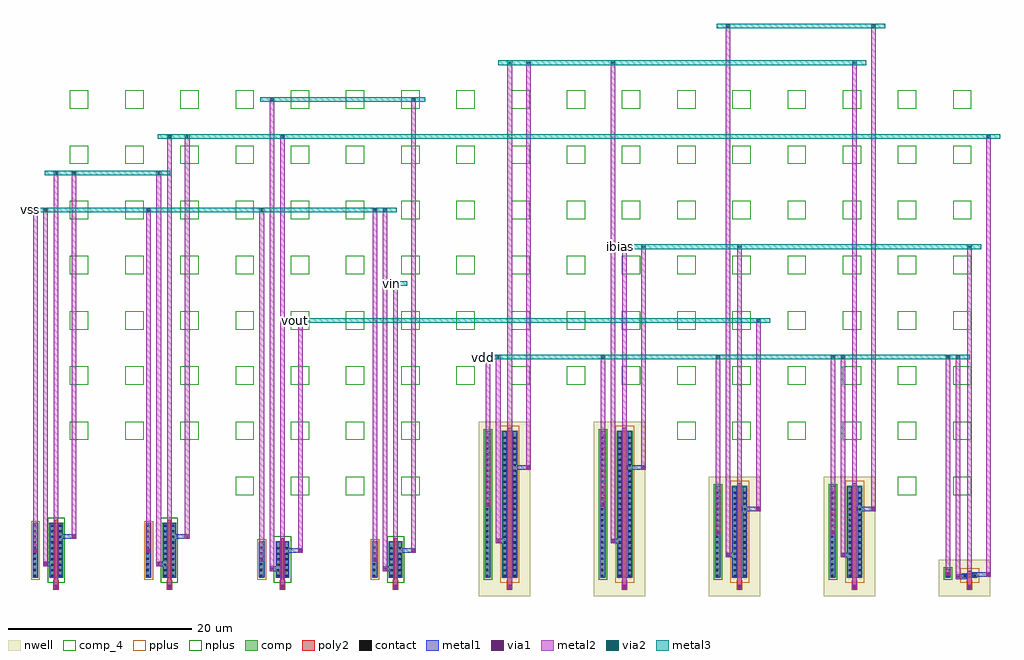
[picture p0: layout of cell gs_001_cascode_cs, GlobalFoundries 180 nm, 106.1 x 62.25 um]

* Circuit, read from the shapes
.subckt gs_001_cascode_cs ibias vdd vin vout vss
XM1 n1 n1 vss vss nfet_03v3 w=6u l=0.3u
XM2 n2 n2 n1 vss nfet_03v3 w=6u l=0.3u
XM3 vout n2 n3 vss nfet_03v3 w=4u l=0.3u
XM4 n3 vin vss vss nfet_03v3 w=4u l=0.3u
XM5 n4 n4 vdd vdd pfet_03v3 w=16u l=0.5u
XM6 ibias ibias n4 vdd pfet_03v3 w=16u l=0.5u
XM7 vout ibias n5 vdd pfet_03v3 w=10u l=0.5u
XM8 n5 n4 vdd vdd pfet_03v3 w=10u l=0.5u
XM9 n2 ibias vdd vdd pfet_03v3 w=0.5u l=0.5u
.ends

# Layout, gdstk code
import gdstk
lib = gdstk.Library(unit=1e-6, precision=1e-09)
def R(c, l, rs):  # rectangles x0, y0, x1, y1
    for r in rs: c.add(gdstk.rectangle(r[:2], r[2:], *l))
def A(c, l, x, y, w, h, nx, ny, dx, dy):  # array of equal rectangles
    R(c, l, [(x+i*dx, y+j*dy, x+i*dx+w, y+j*dy+h) for i in range(nx) for j in range(ny)])
nwell = (21, 0)
comp = (22, 0)
comp_4 = (22, 4)
poly2 = (30, 0)
pplus = (31, 0)
nplus = (32, 0)
contact = (33, 0)
metal1 = (34, 0)
via1 = (35, 0)
metal2 = (36, 0)
via2 = (38, 0)
metal3 = (42, 0)

gs_001_cascode_cs = lib.new_cell('gs_001_cascode_cs')
R(gs_001_cascode_cs, nwell, [(46.7,-2,52.3,17), (59.2,-2,64.8,17), (71.7,-2,77.3,11), (84.2,-2,89.8,11), (96.7,-2,102.3,2)])
R(gs_001_cascode_cs, comp, [(-1.8,0,-1.2,6), (0,0,1.5,6), (10.5,0,11.1,6), (12.3,0,13.8,6), (22.8,0,23.4,4), (24.6,0,26.1,4), (35.1,0,35.7,4), (36.9,0,38.4,4), (47.4,0,48,16), (49.2,0,50.9,16), (59.9,0,60.5,16), (61.7,0,63.4,16), (72.4,0,73,10), (74.2,0,75.9,10), (84.9,0,85.5,10), (86.7,0,88.4,10), (97.4,0,98,1), (99.2,0,100.9,0.5)])
A(gs_001_cascode_cs, comp_4, 20.25, 9, 2, 2, 4, 1, 6, 0)
A(gs_001_cascode_cs, comp_4, 2.25, 15, 2, 2, 7, 1, 6, 0)
A(gs_001_cascode_cs, comp_4, 68.25, 15, 2, 2, 6, 1, 6, 0)
A(gs_001_cascode_cs, comp_4, 2.25, 21, 2, 2, 17, 6, 6, 6)
R(gs_001_cascode_cs, comp_4, [(92.25,9,94.25,11), (98.25,9,100.25,11)])
A(gs_001_cascode_cs, poly2, 0.45, -1.3, 0.6, 1.05, 4, 1, 12.3, 0)
A(gs_001_cascode_cs, poly2, 49.75, -1.3, 0.6, 1.05, 5, 1, 12.5, 0)
R(gs_001_cascode_cs, poly2, [(0.6,-0.3,0.9,6.3), (12.9,-0.3,13.2,6.3), (25.2,-0.3,25.5,4.3), (37.5,-0.3,37.8,4.3), (49.8,-0.3,50.3,16.3), (62.3,-0.3,62.8,16.3), (74.8,-0.3,75.3,10.3), (87.3,-0.3,87.8,10.3), (99.8,-0.3,100.3,0.8)])
R(gs_001_cascode_cs, pplus, [(49.02,-0.55,51.08,16.55), (61.52,-0.55,63.58,16.55), (74.02,-0.55,76.08,10.55), (86.52,-0.55,88.58,10.55), (99.02,-0.55,101.08,1.05), (-1.98,-0.18,-1.02,6.18), (10.32,-0.18,11.28,6.18), (22.62,-0.18,23.58,4.18), (34.92,-0.18,35.88,4.18)])
R(gs_001_cascode_cs, nplus, [(-0.18,-0.55,1.68,6.55), (12.12,-0.55,13.98,6.55), (24.42,-0.55,26.28,4.55), (36.72,-0.55,38.58,4.55), (47.22,-0.18,48.18,16.18), (59.72,-0.18,60.68,16.18), (72.22,-0.18,73.18,10.18), (84.72,-0.18,85.68,10.18), (97.22,-0.18,98.18,1.18)])
A(gs_001_cascode_cs, contact, 0.64, -1.11, 0.22, 0.22, 4, 1, 12.3, 0)
A(gs_001_cascode_cs, contact, 49.94, -1.11, 0.22, 0.22, 5, 1, 12.5, 0)
A(gs_001_cascode_cs, contact, 0.19, 0.14, 0.22, 0.22, 1, 10, 0, 0.6)
A(gs_001_cascode_cs, contact, 1.09, 0.14, 0.22, 0.22, 1, 10, 0, 0.6)
A(gs_001_cascode_cs, contact, 12.49, 0.14, 0.22, 0.22, 1, 10, 0, 0.6)
A(gs_001_cascode_cs, contact, 13.39, 0.14, 0.22, 0.22, 1, 10, 0, 0.6)
A(gs_001_cascode_cs, contact, 24.79, 0.14, 0.22, 0.22, 1, 6, 0, 0.6)
A(gs_001_cascode_cs, contact, 25.69, 0.14, 0.22, 0.22, 1, 6, 0, 0.6)
A(gs_001_cascode_cs, contact, 37.09, 0.14, 0.22, 0.22, 1, 6, 0, 0.6)
A(gs_001_cascode_cs, contact, 37.99, 0.14, 0.22, 0.22, 1, 6, 0, 0.6)
A(gs_001_cascode_cs, contact, 49.39, 0.14, 0.22, 0.22, 1, 26, 0, 0.6)
A(gs_001_cascode_cs, contact, 50.49, 0.14, 0.22, 0.22, 1, 26, 0, 0.6)
A(gs_001_cascode_cs, contact, 61.89, 0.14, 0.22, 0.22, 1, 26, 0, 0.6)
A(gs_001_cascode_cs, contact, 62.99, 0.14, 0.22, 0.22, 1, 26, 0, 0.6)
A(gs_001_cascode_cs, contact, 74.39, 0.14, 0.22, 0.22, 1, 16, 0, 0.6)
A(gs_001_cascode_cs, contact, 75.49, 0.14, 0.22, 0.22, 1, 16, 0, 0.6)
A(gs_001_cascode_cs, contact, 86.89, 0.14, 0.22, 0.22, 1, 16, 0, 0.6)
A(gs_001_cascode_cs, contact, 87.99, 0.14, 0.22, 0.22, 1, 16, 0, 0.6)
A(gs_001_cascode_cs, contact, -1.69, 0.15, 0.22, 0.22, 5, 6, 12.3, 0.6)
A(gs_001_cascode_cs, contact, 60.01, 0.15, 0.22, 0.22, 4, 1, 12.5, 0)
A(gs_001_cascode_cs, contact, 60.01, 0.75, 0.22, 0.22, 3, 5, 12.5, 0.6)
A(gs_001_cascode_cs, contact, -1.69, 3.75, 0.22, 0.22, 1, 4, 0, 0.6)
A(gs_001_cascode_cs, contact, 10.61, 3.75, 0.22, 0.22, 1, 4, 0, 0.6)
A(gs_001_cascode_cs, contact, 47.51, 3.75, 0.22, 0.22, 4, 10, 12.5, 0.6)
A(gs_001_cascode_cs, contact, 47.51, 9.75, 0.22, 0.22, 1, 10, 0, 0.6)
A(gs_001_cascode_cs, contact, 60.01, 9.75, 0.22, 0.22, 1, 10, 0, 0.6)
R(gs_001_cascode_cs, contact, [(99.39,0.14,99.61,0.36), (100.49,0.14,100.71,0.36)])
R(gs_001_cascode_cs, metal1, [(0.5,-1.25,1,-0.75), (0.5,-1.25,1,-0.75), (12.8,-1.25,13.3,-0.75), (12.8,-1.25,13.3,-0.75), (25.1,-1.25,25.6,-0.75), (25.1,-1.25,25.6,-0.75), (37.4,-1.25,37.9,-0.75), (37.4,-1.25,37.9,-0.75), (49.8,-1.25,50.3,-0.75), (49.8,-1.25,50.3,-0.75), (62.3,-1.25,62.8,-0.75), (62.3,-1.25,62.8,-0.75), (74.8,-1.25,75.3,-0.75), (74.8,-1.25,75.3,-0.75), (87.3,-1.25,87.8,-0.75), (87.3,-1.25,87.8,-0.75), (99.8,-1.25,100.3,-0.75), (99.8,-1.25,100.3,-0.75), (98.55,-0.125,99.05,0.375), (-1.75,0.05,-1.25,5.95), (10.55,0.05,11.05,5.95), (22.85,0.05,23.35,3.95), (35.15,0.05,35.65,3.95), (47.45,0.05,47.95,15.95), (59.95,0.05,60.45,15.95), (72.45,0.05,72.95,9.95), (84.95,0.05,85.45,9.95), (97.45,0.05,97.95,0.95), (0.07,0.08,0.53,5.92), (0.97,0.08,1.43,5.92), (12.37,0.08,12.83,5.92), (13.27,0.08,13.73,5.92), (24.67,0.08,25.13,3.92), (25.57,0.08,26.03,3.92), (36.97,0.08,37.43,3.92), (37.87,0.08,38.33,3.92), (49.27,0.08,49.73,15.92), (50.37,0.08,50.83,15.92), (61.77,0.08,62.23,15.92), (62.87,0.08,63.33,15.92), (74.27,0.08,74.73,9.92), (75.37,0.08,75.83,9.92), (86.77,0.08,87.23,9.92), (87.87,0.08,88.33,9.92), (99.27,0.08,99.73,0.42), (100.37,0.08,100.83,0.42), (-1.81,0.09,-1.35,5.91), (10.49,0.09,10.95,5.91), (22.79,0.09,23.25,3.91), (35.09,0.09,35.55,3.91), (47.39,0.09,47.85,15.91), (59.89,0.09,60.35,15.91), (72.39,0.09,72.85,9.91), (84.89,0.09,85.35,9.91), (97.39,0.09,97.85,0.91), (101.85,0.125,102.35,0.625), (97.45,0.25,97.95,0.75), (23.95,0.75,24.45,1.25), (36.25,0.75,36.75,1.25), (-0.65,1.25,-0.15,1.75), (11.65,1.25,12.15,1.75), (22.85,1.75,23.35,2.25), (35.15,1.75,35.65,2.25), (73.55,2.25,74.05,2.75), (86.05,2.25,86.55,2.75), (-1.75,2.75,-1.25,3.25), (10.55,2.75,11.05,3.25), (27.05,2.75,27.55,3.25), (39.35,2.75,39.85,3.25), (48.55,3.75,49.05,4.25), (61.05,3.75,61.55,4.25), (2.45,4.25,2.95,4.75), (14.75,4.25,15.25,4.75), (72.45,4.75,72.95,5.25), (84.95,4.75,85.45,5.25), (76.85,7.25,77.35,7.75), (89.35,7.25,89.85,7.75), (47.45,7.75,47.95,8.25), (59.95,7.75,60.45,8.25), (51.85,11.75,52.35,12.25), (64.35,11.75,64.85,12.25)])
A(gs_001_cascode_cs, via1, 0.62, -1.13, 0.26, 0.26, 4, 1, 12.3, 0)
A(gs_001_cascode_cs, via1, 49.92, -1.13, 0.26, 0.26, 5, 1, 12.5, 0)
R(gs_001_cascode_cs, via1, [(98.67,-0.005,98.93,0.255), (101.97,0.245,102.23,0.505), (97.57,0.37,97.83,0.63), (24.07,0.87,24.33,1.13), (36.37,0.87,36.63,1.13), (-0.53,1.37,-0.27,1.63), (11.77,1.37,12.03,1.63), (22.97,1.87,23.23,2.13), (35.27,1.87,35.53,2.13), (73.67,2.37,73.93,2.63), (86.17,2.37,86.43,2.63), (-1.63,2.87,-1.37,3.13), (10.67,2.87,10.93,3.13), (27.17,2.87,27.43,3.13), (39.47,2.87,39.73,3.13), (48.67,3.87,48.93,4.13), (61.17,3.87,61.43,4.13), (2.57,4.37,2.83,4.63), (14.87,4.37,15.13,4.63), (72.57,4.87,72.83,5.13), (85.07,4.87,85.33,5.13), (76.97,7.37,77.23,7.63), (89.47,7.37,89.73,7.63), (47.57,7.87,47.83,8.13), (60.07,7.87,60.33,8.13), (51.97,11.87,52.23,12.13), (64.47,11.87,64.73,12.13)])
A(gs_001_cascode_cs, metal2, 0.5, -1.25, 0.5, 0.5, 4, 1, 12.3, 0)
A(gs_001_cascode_cs, metal2, 49.8, -1.25, 0.5, 0.5, 5, 1, 12.5, 0)
A(gs_001_cascode_cs, metal2, 59.95, 23.75, 0.5, 0.5, 3, 1, 12.5, 0)
A(gs_001_cascode_cs, metal2, 10.55, 39.75, 0.5, 0.5, 3, 1, 12.3, 0)
R(gs_001_cascode_cs, metal2, [(98.55,-0.125,99.05,0.375), (101.85,0.125,102.35,0.625), (97.45,0.25,97.95,0.75), (23.95,0.75,24.45,1.25), (36.25,0.75,36.75,1.25), (-0.65,1.25,-0.15,1.75), (11.65,1.25,12.15,1.75), (22.85,1.75,23.35,2.25), (35.15,1.75,35.65,2.25), (73.55,2.25,74.05,2.75), (86.05,2.25,86.55,2.75), (-1.75,2.75,-1.25,3.25), (10.55,2.75,11.05,3.25), (27.05,2.75,27.55,3.25), (39.35,2.75,39.85,3.25), (48.55,3.75,49.05,4.25), (61.05,3.75,61.55,4.25), (2.45,4.25,2.95,4.75), (14.75,4.25,15.25,4.75), (72.45,4.75,72.95,5.25), (84.95,4.75,85.45,5.25), (76.85,7.25,77.35,7.75), (89.35,7.25,89.85,7.75), (47.45,7.75,47.95,8.25), (59.95,7.75,60.45,8.25), (51.85,11.75,52.35,12.25), (64.35,11.75,64.85,12.25), (47.45,23.75,47.95,24.25), (48.55,23.75,49.05,24.25), (86.05,23.75,86.55,24.25), (97.45,23.75,97.95,24.25), (98.55,23.75,99.05,24.25), (27.05,27.75,27.55,28.25), (76.85,27.75,77.35,28.25), (37.4,31.75,37.9,32.25), (62.3,35.75,62.8,36.25), (64.35,35.75,64.85,36.25), (74.8,35.75,75.3,36.25), (99.8,35.75,100.3,36.25), (-1.75,39.75,-1.25,40.25), (-0.65,39.75,-0.15,40.25), (36.25,39.75,36.75,40.25), (0.5,43.75,1,44.25), (2.45,43.75,2.95,44.25), (11.65,43.75,12.15,44.25), (12.8,47.75,13.3,48.25), (14.75,47.75,15.25,48.25), (25.1,47.75,25.6,48.25), (101.85,47.75,102.35,48.25), (23.95,51.75,24.45,52.25), (39.35,51.75,39.85,52.25), (49.8,55.75,50.3,56.25), (51.85,55.75,52.35,56.25), (61.05,55.75,61.55,56.25), (87.3,55.75,87.8,56.25), (73.55,59.75,74.05,60.25), (89.35,59.75,89.85,60.25)])
A(gs_001_cascode_cs, via2, 60.07, 23.87, 0.26, 0.26, 3, 1, 12.5, 0)
A(gs_001_cascode_cs, via2, 10.67, 39.87, 0.26, 0.26, 3, 1, 12.3, 0)
R(gs_001_cascode_cs, via2, [(47.57,23.87,47.83,24.13), (48.67,23.87,48.93,24.13), (86.17,23.87,86.43,24.13), (97.57,23.87,97.83,24.13), (98.67,23.87,98.93,24.13), (27.17,27.87,27.43,28.13), (76.97,27.87,77.23,28.13), (37.52,31.87,37.78,32.13), (62.42,35.87,62.68,36.13), (64.47,35.87,64.73,36.13), (74.92,35.87,75.18,36.13), (99.92,35.87,100.18,36.13), (-1.63,39.87,-1.37,40.13), (-0.53,39.87,-0.27,40.13), (36.37,39.87,36.63,40.13), (0.62,43.87,0.88,44.13), (2.57,43.87,2.83,44.13), (11.77,43.87,12.03,44.13), (12.92,47.87,13.18,48.13), (14.87,47.87,15.13,48.13), (25.22,47.87,25.48,48.13), (101.97,47.87,102.23,48.13), (24.07,51.87,24.33,52.13), (39.47,51.87,39.73,52.13), (49.92,55.87,50.18,56.13), (51.97,55.87,52.23,56.13), (61.17,55.87,61.43,56.13), (87.42,55.87,87.68,56.13), (73.67,59.87,73.93,60.13), (89.47,59.87,89.73,60.13)])
A(gs_001_cascode_cs, metal3, 59.95, 23.75, 0.5, 0.5, 3, 1, 12.5, 0)
A(gs_001_cascode_cs, metal3, 10.55, 39.75, 0.5, 0.5, 3, 1, 12.3, 0)
R(gs_001_cascode_cs, metal3, [(47.45,23.75,47.95,24.25), (48.55,23.75,49.05,24.25), (86.05,23.75,86.55,24.25), (97.45,23.75,97.95,24.25), (98.55,23.75,99.05,24.25), (27.05,27.75,27.55,28.25), (76.85,27.75,77.35,28.25), (37.4,31.75,37.9,32.25), (62.3,35.75,62.8,36.25), (64.35,35.75,64.85,36.25), (74.8,35.75,75.3,36.25), (99.8,35.75,100.3,36.25), (-1.75,39.75,-1.25,40.25), (-0.65,39.75,-0.15,40.25), (36.25,39.75,36.75,40.25), (0.5,43.75,1,44.25), (2.45,43.75,2.95,44.25), (11.65,43.75,12.15,44.25), (12.8,47.75,13.3,48.25), (14.75,47.75,15.25,48.25), (25.1,47.75,25.6,48.25), (101.85,47.75,102.35,48.25), (23.95,51.75,24.45,52.25), (39.35,51.75,39.85,52.25), (49.8,55.75,50.3,56.25), (51.85,55.75,52.35,56.25), (61.05,55.75,61.55,56.25), (87.3,55.75,87.8,56.25), (73.55,59.75,74.05,60.25), (89.35,59.75,89.85,60.25)])
gs_001_cascode_cs.add(gdstk.FlexPath([(0.3,1.5),(-0.4,1.5)], 0.5, ends="extended", simple_path=True, layer=34, datatype=0))  # metal1
gs_001_cascode_cs.add(gdstk.FlexPath([(1.2,4.5),(2.7,4.5)], 0.5, ends="extended", simple_path=True, layer=34, datatype=0))  # metal1
gs_001_cascode_cs.add(gdstk.FlexPath([(12.6,1.5),(11.9,1.5)], 0.5, ends="extended", simple_path=True, layer=34, datatype=0))  # metal1
gs_001_cascode_cs.add(gdstk.FlexPath([(13.5,4.5),(15,4.5)], 0.5, ends="extended", simple_path=True, layer=34, datatype=0))  # metal1
gs_001_cascode_cs.add(gdstk.FlexPath([(24.9,1),(24.2,1)], 0.5, ends="extended", simple_path=True, layer=34, datatype=0))  # metal1
gs_001_cascode_cs.add(gdstk.FlexPath([(25.8,3),(27.3,3)], 0.5, ends="extended", simple_path=True, layer=34, datatype=0))  # metal1
gs_001_cascode_cs.add(gdstk.FlexPath([(37.2,1),(36.5,1)], 0.5, ends="extended", simple_path=True, layer=34, datatype=0))  # metal1
gs_001_cascode_cs.add(gdstk.FlexPath([(38.1,3),(39.6,3)], 0.5, ends="extended", simple_path=True, layer=34, datatype=0))  # metal1
gs_001_cascode_cs.add(gdstk.FlexPath([(49.5,4),(48.8,4)], 0.5, ends="extended", simple_path=True, layer=34, datatype=0))  # metal1
gs_001_cascode_cs.add(gdstk.FlexPath([(50.6,12),(52.1,12)], 0.5, ends="extended", simple_path=True, layer=34, datatype=0))  # metal1
gs_001_cascode_cs.add(gdstk.FlexPath([(62,4),(61.3,4)], 0.5, ends="extended", simple_path=True, layer=34, datatype=0))  # metal1
gs_001_cascode_cs.add(gdstk.FlexPath([(63.1,12),(64.6,12)], 0.5, ends="extended", simple_path=True, layer=34, datatype=0))  # metal1
gs_001_cascode_cs.add(gdstk.FlexPath([(74.5,2.5),(73.8,2.5)], 0.5, ends="extended", simple_path=True, layer=34, datatype=0))  # metal1
gs_001_cascode_cs.add(gdstk.FlexPath([(75.6,7.5),(77.1,7.5)], 0.5, ends="extended", simple_path=True, layer=34, datatype=0))  # metal1
gs_001_cascode_cs.add(gdstk.FlexPath([(87,2.5),(86.3,2.5)], 0.5, ends="extended", simple_path=True, layer=34, datatype=0))  # metal1
gs_001_cascode_cs.add(gdstk.FlexPath([(88.1,7.5),(89.6,7.5)], 0.5, ends="extended", simple_path=True, layer=34, datatype=0))  # metal1
gs_001_cascode_cs.add(gdstk.FlexPath([(99.5,0.125),(98.8,0.125)], 0.5, ends="extended", simple_path=True, layer=34, datatype=0))  # metal1
gs_001_cascode_cs.add(gdstk.FlexPath([(100.6,0.375),(102.1,0.375)], 0.5, ends="extended", simple_path=True, layer=34, datatype=0))  # metal1
gs_001_cascode_cs.add(gdstk.FlexPath([(46.7,24),(99.8,24)], 0.5, ends="extended", simple_path=True, layer=42, datatype=0))  # metal3
gs_001_cascode_cs.add(gdstk.FlexPath([(26.3,28),(78.1,28)], 0.5, ends="extended", simple_path=True, layer=42, datatype=0))  # metal3
gs_001_cascode_cs.add(gdstk.FlexPath([(36.65,32),(38.65,32)], 0.5, ends="extended", simple_path=True, layer=42, datatype=0))  # metal3
gs_001_cascode_cs.add(gdstk.FlexPath([(61.55,36),(101.05,36)], 0.5, ends="extended", simple_path=True, layer=42, datatype=0))  # metal3
gs_001_cascode_cs.add(gdstk.FlexPath([(-2.5,40),(37.5,40)], 0.5, ends="extended", simple_path=True, layer=42, datatype=0))  # metal3
gs_001_cascode_cs.add(gdstk.FlexPath([(-0.25,44),(12.9,44)], 0.5, ends="extended", simple_path=True, layer=42, datatype=0))  # metal3
gs_001_cascode_cs.add(gdstk.FlexPath([(12.05,48),(103.1,48)], 0.5, ends="extended", simple_path=True, layer=42, datatype=0))  # metal3
gs_001_cascode_cs.add(gdstk.FlexPath([(23.2,52),(40.6,52)], 0.5, ends="extended", simple_path=True, layer=42, datatype=0))  # metal3
gs_001_cascode_cs.add(gdstk.FlexPath([(49.05,56),(88.55,56)], 0.5, ends="extended", simple_path=True, layer=42, datatype=0))  # metal3
gs_001_cascode_cs.add(gdstk.FlexPath([(72.8,60),(90.6,60)], 0.5, ends="extended", simple_path=True, layer=42, datatype=0))  # metal3
gs_001_cascode_cs.add(gdstk.FlexPath([(48.8,4),(48.8,24)], 0.5, ends="extended", simple_path=True, layer=36, datatype=0))  # metal2
gs_001_cascode_cs.add(gdstk.FlexPath([(47.7,8),(47.7,24)], 0.5, ends="extended", simple_path=True, layer=36, datatype=0))  # metal2
gs_001_cascode_cs.add(gdstk.FlexPath([(60.2,8),(60.2,24)], 0.5, ends="extended", simple_path=True, layer=36, datatype=0))  # metal2
gs_001_cascode_cs.add(gdstk.FlexPath([(72.7,5),(72.7,24)], 0.5, ends="extended", simple_path=True, layer=36, datatype=0))  # metal2
gs_001_cascode_cs.add(gdstk.FlexPath([(86.3,2.5),(86.3,24)], 0.5, ends="extended", simple_path=True, layer=36, datatype=0))  # metal2
gs_001_cascode_cs.add(gdstk.FlexPath([(85.2,5),(85.2,24)], 0.5, ends="extended", simple_path=True, layer=36, datatype=0))  # metal2
gs_001_cascode_cs.add(gdstk.FlexPath([(98.8,0.125),(98.8,24)], 0.5, ends="extended", simple_path=True, layer=36, datatype=0))  # metal2
gs_001_cascode_cs.add(gdstk.FlexPath([(97.7,0.5),(97.7,24)], 0.5, ends="extended", simple_path=True, layer=36, datatype=0))  # metal2
gs_001_cascode_cs.add(gdstk.FlexPath([(27.3,3),(27.3,28)], 0.5, ends="extended", simple_path=True, layer=36, datatype=0))  # metal2
gs_001_cascode_cs.add(gdstk.FlexPath([(77.1,7.5),(77.1,28)], 0.5, ends="extended", simple_path=True, layer=36, datatype=0))  # metal2
gs_001_cascode_cs.add(gdstk.FlexPath([(37.65,-1),(37.65,32)], 0.5, ends="extended", simple_path=True, layer=36, datatype=0))  # metal2
gs_001_cascode_cs.add(gdstk.FlexPath([(64.6,12),(64.6,36)], 0.5, ends="extended", simple_path=True, layer=36, datatype=0))  # metal2
gs_001_cascode_cs.add(gdstk.FlexPath([(62.55,-1),(62.55,36)], 0.5, ends="extended", simple_path=True, layer=36, datatype=0))  # metal2
gs_001_cascode_cs.add(gdstk.FlexPath([(75.05,-1),(75.05,36)], 0.5, ends="extended", simple_path=True, layer=36, datatype=0))  # metal2
gs_001_cascode_cs.add(gdstk.FlexPath([(100.05,-1),(100.05,36)], 0.5, ends="extended", simple_path=True, layer=36, datatype=0))  # metal2
gs_001_cascode_cs.add(gdstk.FlexPath([(-0.4,1.5),(-0.4,40)], 0.5, ends="extended", simple_path=True, layer=36, datatype=0))  # metal2
gs_001_cascode_cs.add(gdstk.FlexPath([(-1.5,3),(-1.5,40)], 0.5, ends="extended", simple_path=True, layer=36, datatype=0))  # metal2
gs_001_cascode_cs.add(gdstk.FlexPath([(10.8,3),(10.8,40)], 0.5, ends="extended", simple_path=True, layer=36, datatype=0))  # metal2
gs_001_cascode_cs.add(gdstk.FlexPath([(23.1,2),(23.1,40)], 0.5, ends="extended", simple_path=True, layer=36, datatype=0))  # metal2
gs_001_cascode_cs.add(gdstk.FlexPath([(36.5,1),(36.5,40)], 0.5, ends="extended", simple_path=True, layer=36, datatype=0))  # metal2
gs_001_cascode_cs.add(gdstk.FlexPath([(35.4,2),(35.4,40)], 0.5, ends="extended", simple_path=True, layer=36, datatype=0))  # metal2
gs_001_cascode_cs.add(gdstk.FlexPath([(2.7,4.5),(2.7,44)], 0.5, ends="extended", simple_path=True, layer=36, datatype=0))  # metal2
gs_001_cascode_cs.add(gdstk.FlexPath([(0.75,-1),(0.75,44)], 0.5, ends="extended", simple_path=True, layer=36, datatype=0))  # metal2
gs_001_cascode_cs.add(gdstk.FlexPath([(11.9,1.5),(11.9,44)], 0.5, ends="extended", simple_path=True, layer=36, datatype=0))  # metal2
gs_001_cascode_cs.add(gdstk.FlexPath([(15,4.5),(15,48)], 0.5, ends="extended", simple_path=True, layer=36, datatype=0))  # metal2
gs_001_cascode_cs.add(gdstk.FlexPath([(13.05,-1),(13.05,48)], 0.5, ends="extended", simple_path=True, layer=36, datatype=0))  # metal2
gs_001_cascode_cs.add(gdstk.FlexPath([(25.35,-1),(25.35,48)], 0.5, ends="extended", simple_path=True, layer=36, datatype=0))  # metal2
gs_001_cascode_cs.add(gdstk.FlexPath([(102.1,0.375),(102.1,48)], 0.5, ends="extended", simple_path=True, layer=36, datatype=0))  # metal2
gs_001_cascode_cs.add(gdstk.FlexPath([(24.2,1),(24.2,52)], 0.5, ends="extended", simple_path=True, layer=36, datatype=0))  # metal2
gs_001_cascode_cs.add(gdstk.FlexPath([(39.6,3),(39.6,52)], 0.5, ends="extended", simple_path=True, layer=36, datatype=0))  # metal2
gs_001_cascode_cs.add(gdstk.FlexPath([(52.1,12),(52.1,56)], 0.5, ends="extended", simple_path=True, layer=36, datatype=0))  # metal2
gs_001_cascode_cs.add(gdstk.FlexPath([(50.05,-1),(50.05,56)], 0.5, ends="extended", simple_path=True, layer=36, datatype=0))  # metal2
gs_001_cascode_cs.add(gdstk.FlexPath([(61.3,4),(61.3,56)], 0.5, ends="extended", simple_path=True, layer=36, datatype=0))  # metal2
gs_001_cascode_cs.add(gdstk.FlexPath([(87.55,-1),(87.55,56)], 0.5, ends="extended", simple_path=True, layer=36, datatype=0))  # metal2
gs_001_cascode_cs.add(gdstk.FlexPath([(73.8,2.5),(73.8,60)], 0.5, ends="extended", simple_path=True, layer=36, datatype=0))  # metal2
gs_001_cascode_cs.add(gdstk.FlexPath([(89.6,7.5),(89.6,60)], 0.5, ends="extended", simple_path=True, layer=36, datatype=0))  # metal2
gs_001_cascode_cs.add(gdstk.Label('vdd', (47.2,24), layer=42, texttype=10))
gs_001_cascode_cs.add(gdstk.Label('vout', (26.8,28), layer=42, texttype=10))
gs_001_cascode_cs.add(gdstk.Label('vin', (37.15,32), layer=42, texttype=10))
gs_001_cascode_cs.add(gdstk.Label('ibias', (62.05,36), layer=42, texttype=10))
gs_001_cascode_cs.add(gdstk.Label('vss', (-2,40), layer=42, texttype=10))

lib.write_gds('gs_001_cascode_cs.gds')
